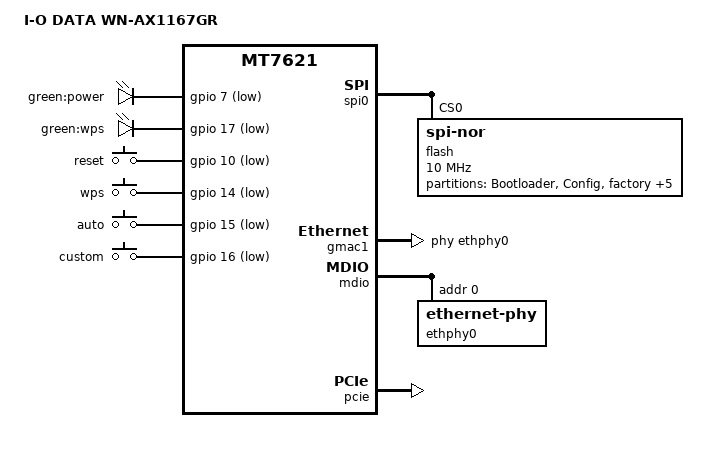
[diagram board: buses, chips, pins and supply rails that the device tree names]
#include "mt7621.dtsi"

#include <dt-bindings/gpio/gpio.h>
#include <dt-bindings/input/input.h>

/ {
	compatible = "iodata,wn-ax1167gr", "mediatek,mt7621-soc";
	model = "I-O DATA WN-AX1167GR";

	aliases {
		led-boot = &led_power;
		led-failsafe = &led_power;
		led-running = &led_power;
		led-upgrade = &led_power;
	};

	chosen {
		bootargs = "console=ttyS0,115200";
	};

	leds {
		compatible = "gpio-leds";

		led_power: power {
			label = "green:power";
			gpios = <&gpio 7 GPIO_ACTIVE_LOW>;
		};

		wps {
			label = "green:wps";
			gpios = <&gpio 17 GPIO_ACTIVE_LOW>;
		};
	};

	keys {
		compatible = "gpio-keys";

		reset {
			label = "reset";
			gpios = <&gpio 10 GPIO_ACTIVE_LOW>;
			linux,code = <KEY_RESTART>;
		};

		wps {
			label = "wps";
			gpios = <&gpio 14 GPIO_ACTIVE_LOW>;
			linux,code = <KEY_WPS_BUTTON>;
		};

		auto {
			label = "auto";
			gpios = <&gpio 15 GPIO_ACTIVE_LOW>;
			linux,code = <BTN_0>;
			linux,input-type = <EV_SW>;
		};

		custom {
			label = "custom";
			gpios = <&gpio 16 GPIO_ACTIVE_LOW>;
			linux,code = <BTN_0>;
			linux,input-type = <EV_SW>;
		};
	};
};

&spi0 {
	status = "okay";

	flash@0 {
		compatible = "jedec,spi-nor";
		reg = <0>;
		spi-max-frequency = <10000000>;

		partitions {
			compatible = "fixed-partitions";
			#address-cells = <1>;
			#size-cells = <1>;

			partition@0 {
				label = "Bootloader";
				reg = <0x0 0x30000>;
				read-only;
			};

			partition@30000 {
				label = "Config";
				reg = <0x30000 0x10000>;
				read-only;
			};

			factory: partition@40000 {
				label = "factory";
				reg = <0x40000 0x10000>;
				read-only;
			};

			iNIC_rf: partition@50000 {
				label = "iNIC_rf";
				reg = <0x50000 0x10000>;
				read-only;
			};

			partition@60000 {
				compatible = "denx,uimage";
				label = "firmware";
				reg = <0x60000 0xf30000>;
			};

			partition@f90000 {
				label = "Key";
				reg = <0xf90000 0x10000>;
				read-only;
			};

			partition@fa0000 {
				label = "backup";
				reg = <0xfa0000 0x10000>;
				read-only;
			};

			partition@fb0000 {
				label = "storage";
				reg = <0xfb0000 0x50000>;
				read-only;
			};
		};
	};
};

&gmac0 {
	nvmem-cells = <&macaddr_iNIC_rf_4>;
	nvmem-cell-names = "mac-address";
};

&gmac1 {
	status = "okay";
	label = "wan";
	phy-handle = <&ethphy0>;

	nvmem-cells = <&macaddr_factory_4>;
	nvmem-cell-names = "mac-address";
	mac-address-increment = <1>;
};

&mdio {
	ethphy0: ethernet-phy@0 {
		reg = <0>;
	};
};

&switch0 {
	ports {
		port@1 {
			status = "okay";
			label = "lan4";
		};

		port@2 {
			status = "okay";
			label = "lan3";
		};

		port@3 {
			status = "okay";
			label = "lan2";
		};

		port@4 {
			status = "okay";
			label = "lan1";
		};
	};
};

&state_default {
	gpio {
		groups = "uart2", "uart3", "jtag";
		function = "gpio";
	};
};

&pcie {
	status = "okay";
};

&pcie0 {
	mt76@0,0 {
		reg = <0x0000 0 0 0 0>;
		mediatek,mtd-eeprom = <&iNIC_rf 0x0>;
	};
};

&pcie1 {
	mt76@0,0 {
		reg = <0x0000 0 0 0 0>;
		mediatek,mtd-eeprom = <&factory 0x0>;
		ieee80211-freq-limit = <5000000 6000000>;
	};
};

&xhci {
	status = "disabled";
};

&iNIC_rf {
	compatible = "nvmem-cells";
	#address-cells = <1>;
	#size-cells = <1>;

	macaddr_iNIC_rf_4: macaddr@4 {
		reg = <0x4 0x6>;
	};
};

&factory {
	compatible = "nvmem-cells";
	#address-cells = <1>;
	#size-cells = <1>;

	macaddr_factory_4: macaddr@4 {
		reg = <0x4 0x6>;
	};
};
